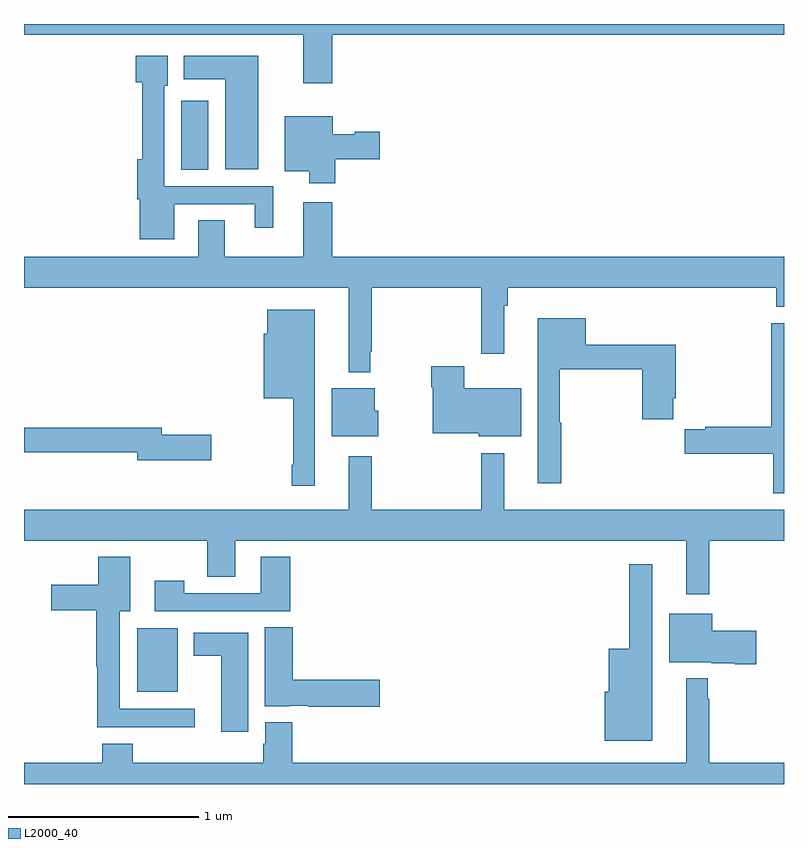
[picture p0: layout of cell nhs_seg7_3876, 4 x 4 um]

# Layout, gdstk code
import gdstk
lib = gdstk.Library(unit=1e-6, precision=1e-09)
def R(c, l, rs):  # rectangles x0, y0, x1, y1
    for r in rs: c.add(gdstk.rectangle(r[:2], r[2:], *l))
def P(c, l, *ps):  # polygons
    for p in ps: c.add(gdstk.Polygon(p, *l))
L2000_40 = (2000, 40)

nhs_seg7_3876 = lib.new_cell('nhs_seg7_3876')
R(nhs_seg7_3876, L2000_40, [(357.596,1002.485,357.808,1002.82), (357.827,1005.232,357.97,1005.595)])
P(nhs_seg7_3876, L2000_40, [(358.622,1005.944),(361,1005.944),(361,1006),(357,1006),(357,1005.944),(358.469,1005.944),(358.469,1005.687),(358.622,1005.687)],
  [(357.79,1005.051),(358.214,1005.051),(358.214,1004.928),(358.312,1004.928),(358.312,1005.147),(357.738,1005.147),(357.738,1005.675),(357.757,1005.675),(357.757,1005.832),(357.588,1005.832),(357.588,1005.694),(357.622,1005.694),(357.622,1005.289),(357.596,1005.289),(357.596,1005.078),(357.608,1005.078),(357.608,1004.867),(357.79,1004.867)],
  [(358.234,1005.832),(357.842,1005.832),(357.842,1005.71),(358.058,1005.71),(358.058,1005.236),(358.234,1005.236)],
  [(358.637,1005.287),(358.873,1005.287),(358.873,1005.434),(358.74,1005.434),(358.74,1005.421),(358.624,1005.421),(358.624,1005.514),(358.373,1005.514),(358.373,1005.224),(358.502,1005.224),(358.502,1005.162),(358.637,1005.162)],
  [(358.823,1004.275),(358.831,1004.275),(358.831,1004.612),(359.406,1004.612),(359.406,1004.265),(359.527,1004.265),(359.527,1004.516),(359.545,1004.516),(359.545,1004.612),(360.959,1004.612),(360.959,1004.513),(361,1004.513),(361,1004.776),(358.622,1004.776),(358.622,1005.061),(358.469,1005.061),(358.469,1004.776),(358.057,1004.776),(358.057,1004.966),(357.917,1004.966),(357.917,1004.776),(357,1004.776),(357,1004.612),(358.709,1004.612),(358.709,1004.168),(358.823,1004.168)],
  [(358.531,1004.497),(358.28,1004.497),(358.28,1004.37),(358.262,1004.37),(358.262,1004.03),(358.417,1004.03),(358.417,1003.681),(358.41,1003.681),(358.41,1003.569),(358.531,1003.569)],
  [(359.827,1003.901),(359.819,1003.901),(359.819,1004.182),(360.253,1004.182),(360.253,1003.921),(360.418,1003.921),(360.418,1004.029),(360.431,1004.029),(360.431,1004.311),(359.956,1004.311),(359.956,1004.452),(359.705,1004.452),(359.705,1003.584),(359.827,1003.584)],
  [(361,1004.426),(360.932,1004.426),(360.932,1003.88),(360.586,1003.88),(360.586,1003.867),(360.478,1003.867),(360.478,1003.738),(360.944,1003.738),(360.944,1003.53),(361,1003.53)],
  [(359.617,1004.083),(359.316,1004.083),(359.316,1004.2),(359.143,1004.2),(359.143,1004.087),(359.15,1004.087),(359.15,1003.847),(359.394,1003.847),(359.394,1003.829),(359.617,1003.829)],
  [(358.864,1003.965),(358.846,1003.965),(358.846,1004.083),(358.619,1004.083),(358.619,1003.829),(358.864,1003.829)],
  [(357.985,1003.838),(357.724,1003.838),(357.724,1003.874),(357,1003.874),(357,1003.746),(357.596,1003.746),(357.596,1003.703),(357.985,1003.703)],
  [(360.607,1003.28),(361,1003.28),(361,1003.444),(359.527,1003.444),(359.527,1003.741),(359.406,1003.741),(359.406,1003.444),(358.831,1003.444),(358.831,1003.726),(358.709,1003.726),(358.709,1003.444),(357,1003.444),(357,1003.28),(357.964,1003.28),(357.964,1003.09),(358.111,1003.09),(358.111,1003.28),(360.485,1003.28),(360.485,1002.999),(360.607,1002.999)],
  [(358.4,1003.195),(358.247,1003.195),(358.247,1003.005),(357.843,1003.005),(357.843,1003.069),(357.687,1003.069),(357.687,1002.909),(358.4,1002.909)],
  [(357.898,1002.396),(357.505,1002.396),(357.505,1002.908),(357.559,1002.908),(357.559,1003.195),(357.392,1003.195),(357.392,1003.048),(357.144,1003.048),(357.144,1002.914),(357.38,1002.914),(357.38,1002.617),(357.385,1002.617),(357.385,1002.299),(357.898,1002.299)],
  [(360.307,1003.156),(360.186,1003.156),(360.186,1002.712),(360.077,1002.712),(360.077,1002.486),(360.056,1002.486),(360.056,1002.227),(360.307,1002.227)],
  [(360.853,1002.807),(360.622,1002.807),(360.622,1002.895),(360.395,1002.895),(360.395,1002.641),(360.618,1002.641),(360.618,1002.635),(360.74,1002.635),(360.74,1002.629),(360.853,1002.629)],
  [(358.873,1002.548),(358.415,1002.548),(358.415,1002.824),(358.268,1002.824),(358.268,1002.41),(358.398,1002.41),(358.398,1002.413),(358.498,1002.413),(358.498,1002.406),(358.873,1002.406)],
  [(358.18,1002.796),(357.893,1002.796),(357.893,1002.674),(358.037,1002.674),(358.037,1002.276),(358.18,1002.276)],
  [(361,1002.112),(360.607,1002.112),(360.607,1002.449),(360.599,1002.449),(360.599,1002.556),(360.485,1002.556),(360.485,1002.112),(358.412,1002.112),(358.412,1002.325),(358.271,1002.325),(358.271,1002.213),(358.259,1002.213),(358.259,1002.112),(357.572,1002.112),(357.572,1002.211),(357.412,1002.211),(357.412,1002.112),(357,1002.112),(357,1002),(361,1002)])

lib.write_gds('nhs_seg7_3876.gds')
